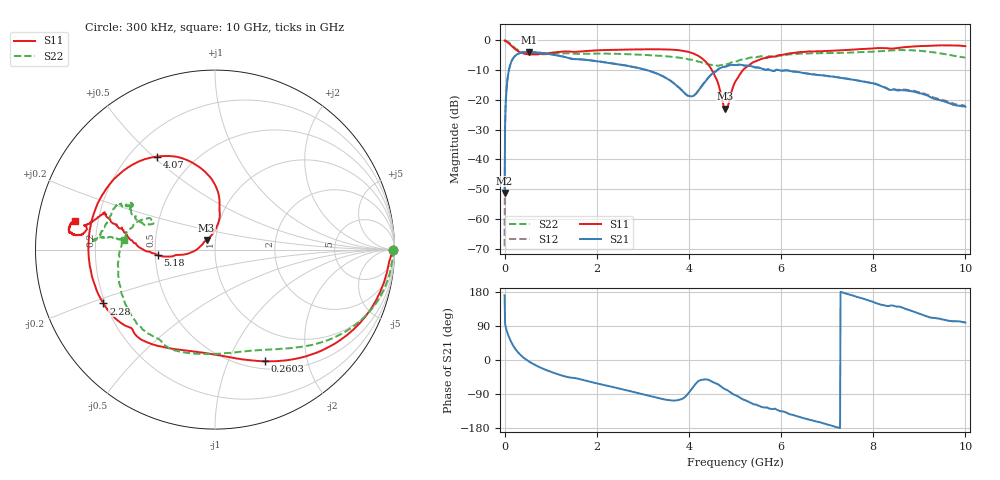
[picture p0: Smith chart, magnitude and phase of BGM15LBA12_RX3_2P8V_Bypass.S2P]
!Agilent Technologies,E5071C,MY46316587,B.13.01
!Date: Thu Dec 07 14:07:49 2017
!Data & Calibration Information:
!Freq	S11:SOLT2(ON)	S21:SOLT2(ON)	S12:SOLT2(ON)	S22:SOLT2(ON)
!PortZ  Port1:50+j0  Port2:50+j0
!Above PortZ is port z conversion or system Z0 setting when saving the data.
!When reading, reference impedance value at option line is always used.
# Hz S dB R 50
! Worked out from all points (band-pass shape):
!   1001 points, 300 kHz to 10 GHz, reference 50 ohm
!   highest |S21| = -3.91 dB at 530.3 MHz (marker M1); lowest = -51.3 dB at 300 kHz (marker M2)
!   |S21| within 3 dB of the highest: 155.2 MHz to 1.939 GHz (1.784 GHz wide, 170 % of centre)
!   lowest |S11| = -22.9 dB at 4.79 GHz (marker M3), VSWR 1.15, Z = 45.2 + j4.86 ohm
!   |S11| at or under -10 dB: 4.498 GHz to 5.174 GHz (675.5 MHz wide, 14 % of centre)
!   |S22| runs from -8.6 to -0.1 dB; largest |S21 - S12| = 0.0061
!   S11 on the Smith chart (normalised r, x): 300 kHz: open; 260.3 MHz: 0.59, -1.37; 2.28 GHz: 0.19, -0.22; 4.07 GHz: 0.31, +0.51; 5.18 GHz: 0.52, -0.04; 10 GHz: 0.12, +0.10
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300000  -0.09 -0.3  -51.29 170.7  -69.15 -74.5  -0.06 -0.0
6.02982e7  -0.63 -20.9  -13.40 72.0  -13.31 72.1  -0.39 -16.1
7.02979e7  -0.75 -24.0  -12.17 68.7  -12.12 68.6  -0.49 -18.6
1.402958e8  -1.73 -43.3  -7.46 48.3  -7.41 48.2  -1.42 -33.4
2.602922e8  -3.33 -66.0  -4.85 24.7  -4.82 24.6  -2.99 -50.3
5.302841e8  -4.73 -93.4  -3.91 -4.0  -3.90 -4.2  -4.54 -72.7
1.030269e9  -4.17 -119.2  -4.77 -32.3  -4.75 -32.4  -4.59 -100.6
1.67025e9  -3.75 -138.7  -6.43 -51.6  -6.38 -51.5  -4.56 -123.6
2.280232e9  -3.22 -154.3  -7.65 -69.5  -7.63 -69.1  -4.51 -138.9
3.3402e9  -3.02 167.5  -11.40 -100.7  -11.40 -100.3  -5.22 -169.1
3.720188e9  -3.24 146.5  -15.07 -106.8  -14.99 -106.5  -5.68 175.8
4.070178e9  -4.30 121.8  -18.81 -75.0  -18.71 -74.9  -6.54 162.0
4.480166e9  -9.52 88.0  -11.56 -55.4  -11.55 -55.6  -8.27 155.2
4.610162e9  -13.46 83.0  -10.13 -62.8  -10.14 -62.8  -8.53 155.9
4.790156e9  -22.94 131.4  -8.84 -77.4  -8.83 -77.6  -8.05 159.1
4.850154e9  -21.87 164.4  -8.53 -80.9  -8.52 -80.9  -7.94 159.9
5.00015e9  -14.08 -171.5  -8.33 -92.6  -8.31 -92.5  -7.22 159.7
5.180145e9  -9.88 -174.5  -8.41 -104.6  -8.39 -104.6  -6.36 157.5
5.610132e9  -6.09 170.8  -9.70 -124.9  -9.67 -124.9  -5.38 151.1
6.6701e9  -3.76 161.3  -11.42 -159.0  -11.36 -158.9  -4.40 156.2
8.34005e9  -2.75 169.9  -16.57 142.6  -16.51 142.5  -3.51 175.5
1e10  -2.00 168.4  -22.29 98.8  -21.95 99.7  -5.83 174.0
